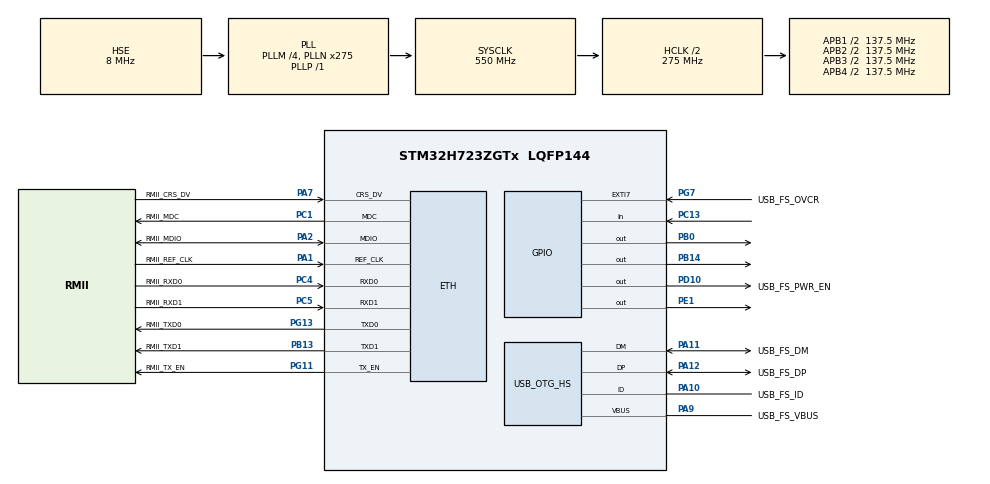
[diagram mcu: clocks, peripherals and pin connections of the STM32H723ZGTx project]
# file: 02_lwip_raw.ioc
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CORTEX_M7.AccessPermission_S-Cortex_Memory_Protection_Unit_Region1_Settings_S=MPU_REGION_FULL_ACCESS
CORTEX_M7.AccessPermission_S-Cortex_Memory_Protection_Unit_Region2_Settings_S=MPU_REGION_FULL_ACCESS
CORTEX_M7.BaseAddress_S-Cortex_Memory_Protection_Unit_Region1_Settings_S=0x30000000
CORTEX_M7.BaseAddress_S-Cortex_Memory_Protection_Unit_Region2_Settings_S=0x30000000
CORTEX_M7.CPU_DCache=Enabled
CORTEX_M7.CPU_ICache=Enabled
CORTEX_M7.DisableExec_S-Cortex_Memory_Protection_Unit_Region1_Settings_S=MPU_INSTRUCTION_ACCESS_DISABLE
CORTEX_M7.DisableExec_S-Cortex_Memory_Protection_Unit_Region2_Settings_S=MPU_INSTRUCTION_ACCESS_DISABLE
CORTEX_M7.Enable_S-Cortex_Memory_Protection_Unit_Region1_Settings_S=MPU_REGION_ENABLE
CORTEX_M7.Enable_S-Cortex_Memory_Protection_Unit_Region2_Settings_S=MPU_REGION_ENABLE
CORTEX_M7.IsBufferable_S-Cortex_Memory_Protection_Unit_Region1_Settings_S=MPU_ACCESS_NOT_BUFFERABLE
CORTEX_M7.IsBufferable_S-Cortex_Memory_Protection_Unit_Region2_Settings_S=MPU_ACCESS_BUFFERABLE
CORTEX_M7.IsCacheable_S-Cortex_Memory_Protection_Unit_Region1_Settings_S=MPU_ACCESS_NOT_CACHEABLE
CORTEX_M7.IsCacheable_S-Cortex_Memory_Protection_Unit_Region2_Settings_S=MPU_ACCESS_NOT_CACHEABLE
CORTEX_M7.IsShareable_S-Cortex_Memory_Protection_Unit_Region1_Settings_S=MPU_ACCESS_NOT_SHAREABLE
CORTEX_M7.IsShareable_S-Cortex_Memory_Protection_Unit_Region2_Settings_S=MPU_ACCESS_SHAREABLE
CORTEX_M7.Size_S-Cortex_Memory_Protection_Unit_Region1_Settings_S=MPU_REGION_SIZE_32KB
CORTEX_M7.Size_S-Cortex_Memory_Protection_Unit_Region2_Settings_S=MPU_REGION_SIZE_1KB
CORTEX_M7.TypeExtField_S-Cortex_Memory_Protection_Unit_Region1_Settings_S=MPU_TEX_LEVEL1
CORTEX_M7.TypeExtField_S-Cortex_Memory_Protection_Unit_Region2_Settings_S=MPU_TEX_LEVEL0
CORTEX_M7.default_mode_Activation=1
DTS.SamplingTime=DTS_SMP_TIME_15_CYCLE
ETH.MACAddr=02\:00\:00\:11\:22\:33
ETH.MediaInterface=HAL_ETH_RMII_MODE
ETH.RxBufferAddress=0x30000400
ETH.RxBuffLen=1536
ETH.RxDescAddress=0x30000000
ETH.TxDescAddress=0x30000200
LWIP.BSP.number=1
LWIP.CHECKSUM_BY_HARDWARE=1
LWIP.GATEWAY_ADDRESS=192.168.077.001
LWIP.IP_ADDRESS=192.168.077.020
LWIP.LWIP_DHCP=0
LWIP.LWIP_NETIF_LINK_CALLBACK=1
LWIP.LWIP_RAM_HEAP_POINTER=0x30005400
LWIP.MEM_SIZE=10240
LWIP.NETMASK_ADDRESS=255.255.255.000
LWIP.TCP_MSS=1460
LWIP.TCP_SND_BUF=5840
LWIP.TCP_SND_QUEUELEN=16
LWIP.TCP_WND=5840
LWIP.Version=v2.2.1_Cube
LWIP0.BSP.STBoard=false
LWIP0.BSP.api=BSP_COMPONENT_DRIVER
LWIP0.BSP.component=LAN8742
LWIP0.BSP.instance=LAN8742
LWIP0.BSP.name=Driver_PHY
LWIP0.BSP.semaphore=S_LAN8742
LWIP0.BSP.solution=LAN8742
Mcu.Family=STM32H7
Mcu.Name=STM32H723ZGTx
Mcu.Package=LQFP144
NUCLEO-H723ZG.BUTTON=1
NUCLEO-H723ZG.LD1=true
NUCLEO-H723ZG.LD2=true
NUCLEO-H723ZG.LD3=true
NUCLEO-H723ZG.VCP=true
NVIC.ETH_IRQn=true\:5\:0\:false\:false\:true\:true\:true\:true
NVIC.EXTI15_10_IRQn=true\:0\:0\:false\:false\:true\:false\:true\:true
NVIC.PriorityGroup=NVIC_PRIORITYGROUP_4
PA1.GPIO_Label=RMII_REF_CLK
PA1.GPIO_Speed=GPIO_SPEED_FREQ_VERY_HIGH
PA1.Mode=RMII
PA1.Signal=ETH_REF_CLK
PA10.GPIO_Label=USB_FS_ID
PA10.Mode=OTG/Dual_Role_Device_FS
PA10.Signal=USB_OTG_HS_ID
PA11.GPIO_Label=USB_FS_DM
PA11.Mode=OTG/Dual_Role_Device_FS
PA11.Signal=USB_OTG_HS_DM
PA12.GPIO_Label=USB_FS_DP
PA12.Mode=OTG/Dual_Role_Device_FS
PA12.Signal=USB_OTG_HS_DP
PA13(JTMS/SWDIO).GPIO_Label=SWDIO
PA13(JTMS/SWDIO).Mode=Trace_Asynchronous_SW
PA13(JTMS/SWDIO).Signal=DEBUG_JTMS-SWDIO
PA14(JTCK/SWCLK).GPIO_Label=SWCLK
PA14(JTCK/SWCLK).Mode=Trace_Asynchronous_SW
PA14(JTCK/SWCLK).Signal=DEBUG_JTCK-SWCLK
PA2.GPIO_Label=RMII_MDIO
PA2.GPIO_Speed=GPIO_SPEED_FREQ_VERY_HIGH
PA2.Mode=RMII
PA2.Signal=ETH_MDIO
PA7.GPIO_Label=RMII_CRS_DV
PA7.GPIO_Speed=GPIO_SPEED_FREQ_VERY_HIGH
PA7.Mode=RMII
PA7.Signal=ETH_CRS_DV
PA9.GPIO_Label=USB_FS_VBUS
PA9.Mode=Activate_VBUS_FS
PA9.Signal=USB_OTG_HS_VBUS
PB0.Signal=GPIO_Output
PB13.GPIO_Label=RMII_TXD1
PB13.GPIO_Speed=GPIO_SPEED_FREQ_VERY_HIGH
PB13.Mode=RMII
PB13.Signal=ETH_TXD1
PB14.Signal=GPIO_Output
PB3(JTDO/TRACESWO).GPIO_Label=SWO
PB3(JTDO/TRACESWO).Mode=Trace_Asynchronous_SW
PB3(JTDO/TRACESWO).Signal=DEBUG_JTDO-SWO
PC1.GPIO_Label=RMII_MDC
PC1.GPIO_Speed=GPIO_SPEED_FREQ_VERY_HIGH
PC1.Mode=RMII
PC1.Signal=ETH_MDC
PC13.Signal=GPIO_Input
PC14-OSC32_IN.Mode=LSE-External-Oscillator
PC14-OSC32_IN.Signal=RCC_OSC32_IN
PC15-OSC32_OUT.Mode=LSE-External-Oscillator
PC15-OSC32_OUT.Signal=RCC_OSC32_OUT
PC4.GPIO_Label=RMII_RXD0
PC4.GPIO_Speed=GPIO_SPEED_FREQ_VERY_HIGH
PC4.Mode=RMII
PC4.Signal=ETH_RXD0
PC5.GPIO_Label=RMII_RXD1
PC5.GPIO_Speed=GPIO_SPEED_FREQ_VERY_HIGH
PC5.Mode=RMII
PC5.Signal=ETH_RXD1
PD10.GPIO_Label=USB_FS_PWR_EN
PD10.Signal=GPIO_Output
PD8.Signal=USART3_TX
PD9.Signal=USART3_RX
PE1.Signal=GPIO_Output
PG11.GPIO_Label=RMII_TX_EN
PG11.GPIO_Speed=GPIO_SPEED_FREQ_VERY_HIGH
PG11.Mode=RMII
PG11.Signal=ETH_TX_EN
PG13.GPIO_Label=RMII_TXD0
PG13.GPIO_Speed=GPIO_SPEED_FREQ_VERY_HIGH
PG13.Mode=RMII
PG13.Signal=ETH_TXD0
PG7.GPIO_Label=USB_FS_OVCR
PG7.Signal=GPXTI7
PH0-OSC_IN.GPIO_Label=MCO
PH0-OSC_IN.Mode=HSE-External-Clock-Source
PH0-OSC_IN.Signal=RCC_OSC_IN
PH1-OSC_OUT.Signal=RCC_OSC_OUT
ProjectManager.HeapSize=0x1000
ProjectManager.StackSize=0x1000
ProjectManager.TargetToolchain=STM32CubeIDE
RCC.ADCFreq_Value=76000000
RCC.APB1Freq_Value=137500000
RCC.APB2Freq_Value=137500000
RCC.APB3Freq_Value=137500000
RCC.APB4Freq_Value=137500000
RCC.CortexFreq_Value=550000000
RCC.D1PPRE=RCC_APB3_DIV2
RCC.D2PPRE1=RCC_APB1_DIV2
RCC.D2PPRE2=RCC_APB2_DIV2
RCC.D3PPRE=RCC_APB4_DIV2
RCC.DIVM1=4
RCC.DIVM2=1
RCC.DIVN1=275
RCC.DIVN2=19
RCC.DIVP1=1
RCC.DIVQ1=4
RCC.HCLKFreq_Value=275000000
RCC.HPRE=RCC_HCLK_DIV2
RCC.HSE_VALUE=8000000
RCC.PLLFRACN=0
RCC.PLLSourceVirtual=RCC_PLLSOURCE_HSE
RCC.SYSCLKFreq_VALUE=550000000
RCC.SYSCLKSource=RCC_SYSCLKSOURCE_PLLCLK
RCC.USBCLockSelection=RCC_USBCLKSOURCE_HSI48
RCC.USBFreq_Value=48000000
USB_OTG_HS.VirtualMode-OTG/Dual_Role_Device_FS=Device_Role_Device_FS
VP_DTS_VS-DTS.Mode=DTS
VP_LWIP_VS_Enabled.Mode=Enabled
VP_NUCLEO-H723ZG_VS_BSP_COMMON.Mode=COMMON
board=NUCLEO-H723ZG

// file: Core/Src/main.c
/* USER CODE BEGIN Header */
/**
  ******************************************************************************
  * @file           : main.c
  * @brief          : Main program body
  ******************************************************************************
  * @attention
  *
  * Copyright (c) 2026 STMicroelectronics.
  * All rights reserved.
  *
  * This software is licensed under terms that can be found in the LICENSE file
  * in the root directory of this software component.
  * If no LICENSE file comes with this software, it is provided AS-IS.
  *
  ******************************************************************************
  */
/* USER CODE END Header */
#include "main.h"
#include "lwip.h"

/* USER CODE BEGIN Includes */
#include <stdio.h>
#include <string.h>
#include "app_net.h"
#include "lwip/netif.h"
#include "lwip/ip4_addr.h"
#include "lwip/dhcp.h"
#include "ethernetif.h"
/* USER CODE END Includes */

COM_InitTypeDef BspCOMInit;

DTS_HandleTypeDef hdts;

PCD_HandleTypeDef hpcd_USB_OTG_HS;

/* USER CODE BEGIN PV */
static volatile uint8_t led_manual;     /* TCP 'LED ON/OFF'를 받으면 1 → LD1 점멸 중지 */
extern ETH_HandleTypeDef heth;          /* ethernetif.c */
extern struct netif gnetif;             /* lwip.c */
/* USER CODE END PV */

void SystemClock_Config(void);
static void MPU_Config(void);
static void MX_GPIO_Init(void);
static void MX_USB_OTG_HS_PCD_Init(void);
static void MX_DTS_Init(void);

/* USER CODE BEGIN 0 */
/* DTS(온칩 디지털 온도 센서) — MX_DTS_Init 뒤 HAL_DTS_Start로 연속 측정 중. 1 °C 단위 → m°C */
int32_t read_temp_mC(void)
{
  int32_t t = 0;
  if (HAL_DTS_GetTemperature(&hdts, &t) != HAL_OK) { return INT32_MIN; }
  return t * 1000;
}

void app_led(uint8_t on)
{
  led_manual = 1U;
  if (on) { BSP_LED_On(LED_GREEN); } else { BSP_LED_Off(LED_GREEN); }
}

/* 링크 문자열: PHY가 협상한 값을 MAC(ETH_MACCR FES/DM)에 반영한 결과를 그대로 읽는다 */
int app_link_str(char *out, size_t len)
{
  ETH_MACConfigTypeDef mc;
  if (!netif_is_link_up(&gnetif)) { return snprintf(out, len, "DOWN"); }
  HAL_ETH_GetMACConfig(&heth, &mc);
  return snprintf(out, len, "%s%s", (mc.Speed == ETH_SPEED_100M) ? "100" : "10",
                  (mc.DuplexMode == ETH_FULLDUPLEX_MODE) ? "F" : "H");
}
/* USER CODE END 0 */

int main(void)
{

  /* MPU Configuration--------------------------------------------------------*/
  MPU_Config();

  /* Enable the CPU Cache */

  /* Enable I-Cache---------------------------------------------------------*/
  SCB_EnableICache();

  /* Enable D-Cache---------------------------------------------------------*/
  SCB_EnableDCache();

  /* MCU Configuration--------------------------------------------------------*/

  /* Reset of all peripherals, Initializes the Flash interface and the Systick. */
  HAL_Init();

  /* Configure the system clock */
  SystemClock_Config();

  /* Initialize all configured peripherals */
  MX_GPIO_Init();
  MX_USB_OTG_HS_PCD_Init();
  MX_DTS_Init();
  MX_LWIP_Init();

  /* Initialize leds */
  BSP_LED_Init(LED_GREEN);
  BSP_LED_Init(LED_YELLOW);
  BSP_LED_Init(LED_RED);

  /* Initialize USER push-button, will be used to trigger an interrupt each time it's pressed.*/
  BSP_PB_Init(BUTTON_USER, BUTTON_MODE_EXTI);

  /* Initialize COM1 port (115200, 8 bits (7-bit data + 1 stop bit), no parity */
  BspCOMInit.BaudRate   = 115200;
  BspCOMInit.WordLength = COM_WORDLENGTH_8B;
  BspCOMInit.StopBits   = COM_STOPBITS_1;
  BspCOMInit.Parity     = COM_PARITY_NONE;
  BspCOMInit.HwFlowCtl  = COM_HWCONTROL_NONE;
  if (BSP_COM_Init(COM1, &BspCOMInit) != BSP_ERROR_NONE)
  {
    Error_Handler();
  }

  /* Infinite loop */
  /* USER CODE BEGIN WHILE */
  printf("\r\n=== Hands-on 2: lwIP RAW API (NO_SYS) ===\r\n");
  printf("IP %s  MAC 02:00:00:11:22:33  heap @0x%08lX (MEM_SIZE %u)\r\n",
         ip4addr_ntoa(netif_ip4_addr(&gnetif)), (unsigned long)LWIP_RAM_HEAP_POINTER, (unsigned)MEM_SIZE);
  telemetry_init();                  /* Step 3: UDP 5005 → 192.168.77.10:5005, 5 Hz */
  cmd_server_init();                 /* Step 4: TCP 23 */

  uint32_t t_tel = HAL_GetTick(), t_led = HAL_GetTick();
#if LWIP_DHCP
  uint8_t dhcp_shown = 0;
#endif
  while (1)
  {
    MX_LWIP_Process();               /* 수신 → lwIP, sys_check_timeouts, 100 ms마다 링크 확인 */

    if ((HAL_GetTick() - t_tel) >= TELEMETRY_MS) { t_tel = HAL_GetTick(); telemetry_send(); }

    if ((HAL_GetTick() - t_led) >= 500U)
    {
      t_led = HAL_GetTick();
      if (!led_manual) { BSP_LED_Toggle(LED_GREEN); }                /* LD1 점멸 = 펌웨어 동작 */
      if (netif_is_link_up(&gnetif)) { BSP_LED_On(LED_YELLOW); } else { BSP_LED_Off(LED_YELLOW); } /* LD2 = 링크 */
    }

#if LWIP_DHCP                        /* Step 2 (강사 시연): CubeMX에서 LWIP_DHCP Enabled → MX_LWIP_Init이 dhcp_start */
    if (!dhcp_shown && dhcp_supplied_address(&gnetif))
    {
      printf("DHCP: IP %s", ip4addr_ntoa(netif_ip4_addr(&gnetif)));
      printf("  GW %s\r\n", ip4addr_ntoa(netif_ip4_gw(&gnetif)));
      dhcp_shown = 1;
    }
#endif
    /* USER CODE END WHILE */

  }
}

void SystemClock_Config(void)
{
  RCC_OscInitTypeDef RCC_OscInitStruct = {0};
  RCC_ClkInitTypeDef RCC_ClkInitStruct = {0};

  /** Supply configuration update enable
  */
  HAL_PWREx_ConfigSupply(PWR_LDO_SUPPLY);

  /** Configure the main internal regulator output voltage
  */
  __HAL_PWR_VOLTAGESCALING_CONFIG(PWR_REGULATOR_VOLTAGE_SCALE0);

  while(!__HAL_PWR_GET_FLAG(PWR_FLAG_VOSRDY)) {}

  /** Initializes the RCC Oscillators according to the specified parameters
  * in the RCC_OscInitTypeDef structure.
  */
  RCC_OscInitStruct.OscillatorType = RCC_OSCILLATORTYPE_HSI48|RCC_OSCILLATORTYPE_HSE;
  RCC_OscInitStruct.HSEState = RCC_HSE_BYPASS;
  RCC_OscInitStruct.HSI48State = RCC_HSI48_ON;
  RCC_OscInitStruct.PLL.PLLState = RCC_PLL_ON;
  RCC_OscInitStruct.PLL.PLLSource = RCC_PLLSOURCE_HSE;
  RCC_OscInitStruct.PLL.PLLM = 4;
  RCC_OscInitStruct.PLL.PLLN = 275;
  RCC_OscInitStruct.PLL.PLLP = 1;
  RCC_OscInitStruct.PLL.PLLQ = 4;
  RCC_OscInitStruct.PLL.PLLR = 2;
  RCC_OscInitStruct.PLL.PLLRGE = RCC_PLL1VCIRANGE_1;
  RCC_OscInitStruct.PLL.PLLVCOSEL = RCC_PLL1VCOWIDE;
  RCC_OscInitStruct.PLL.PLLFRACN = 0;
  if (HAL_RCC_OscConfig(&RCC_OscInitStruct) != HAL_OK)
  {
    Error_Handler();
  }

  /** Initializes the CPU, AHB and APB buses clocks
  */
  RCC_ClkInitStruct.ClockType = RCC_CLOCKTYPE_HCLK|RCC_CLOCKTYPE_SYSCLK
                              |RCC_CLOCKTYPE_PCLK1|RCC_CLOCKTYPE_PCLK2
                              |RCC_CLOCKTYPE_D3PCLK1|RCC_CLOCKTYPE_D1PCLK1;
  RCC_ClkInitStruct.SYSCLKSource = RCC_SYSCLKSOURCE_PLLCLK;
  RCC_ClkInitStruct.SYSCLKDivider = RCC_SYSCLK_DIV1;
  RCC_ClkInitStruct.AHBCLKDivider = RCC_HCLK_DIV2;
  RCC_ClkInitStruct.APB3CLKDivider = RCC_APB3_DIV2;
  RCC_ClkInitStruct.APB1CLKDivider = RCC_APB1_DIV2;
  RCC_ClkInitStruct.APB2CLKDivider = RCC_APB2_DIV2;
  RCC_ClkInitStruct.APB4CLKDivider = RCC_APB4_DIV2;

  if (HAL_RCC_ClockConfig(&RCC_ClkInitStruct, FLASH_LATENCY_3) != HAL_OK)
  {
    Error_Handler();
  }
}

static void MX_DTS_Init(void)
{

  hdts.Instance = DTS;
  hdts.Init.QuickMeasure = DTS_QUICKMEAS_DISABLE;
  hdts.Init.RefClock = DTS_REFCLKSEL_PCLK;
  hdts.Init.TriggerInput = DTS_TRIGGER_HW_NONE;
  hdts.Init.SamplingTime = DTS_SMP_TIME_15_CYCLE;
  hdts.Init.Divider = 1;
  hdts.Init.HighThreshold = 0x0;
  hdts.Init.LowThreshold = 0x0;
  if (HAL_DTS_Init(&hdts) != HAL_OK)
  {
    Error_Handler();
  }
  /* USER CODE BEGIN DTS_Init 2 */
  if (HAL_DTS_Start(&hdts) != HAL_OK)     /* 트리거 없음 → 연속 측정 시작 */
  {
    Error_Handler();
  }
  /* USER CODE END DTS_Init 2 */

}

static void MX_USB_OTG_HS_PCD_Init(void)
{

  hpcd_USB_OTG_HS.Instance = USB_OTG_HS;
  hpcd_USB_OTG_HS.Init.dev_endpoints = 9;
  hpcd_USB_OTG_HS.Init.speed = PCD_SPEED_FULL;
  hpcd_USB_OTG_HS.Init.dma_enable = DISABLE;
  hpcd_USB_OTG_HS.Init.phy_itface = USB_OTG_EMBEDDED_PHY;
  hpcd_USB_OTG_HS.Init.Sof_enable = DISABLE;
  hpcd_USB_OTG_HS.Init.low_power_enable = DISABLE;
  hpcd_USB_OTG_HS.Init.lpm_enable = DISABLE;
  hpcd_USB_OTG_HS.Init.vbus_sensing_enable = ENABLE;
  hpcd_USB_OTG_HS.Init.use_dedicated_ep1 = DISABLE;
  hpcd_USB_OTG_HS.Init.use_external_vbus = DISABLE;
  if (HAL_PCD_Init(&hpcd_USB_OTG_HS) != HAL_OK)
  {
    Error_Handler();
  }

}

static void MX_GPIO_Init(void)
{
  GPIO_InitTypeDef GPIO_InitStruct = {0};

  /* GPIO Ports Clock Enable */
  __HAL_RCC_GPIOC_CLK_ENABLE();
  __HAL_RCC_GPIOH_CLK_ENABLE();
  __HAL_RCC_GPIOA_CLK_ENABLE();
  __HAL_RCC_GPIOB_CLK_ENABLE();
  __HAL_RCC_GPIOD_CLK_ENABLE();
  __HAL_RCC_GPIOG_CLK_ENABLE();

  /*Configure GPIO pin Output Level */
  HAL_GPIO_WritePin(USB_FS_PWR_EN_GPIO_Port, USB_FS_PWR_EN_Pin, GPIO_PIN_RESET);

  /*Configure GPIO pin : USB_FS_PWR_EN_Pin */
  GPIO_InitStruct.Pin = USB_FS_PWR_EN_Pin;
  GPIO_InitStruct.Mode = GPIO_MODE_OUTPUT_PP;
  GPIO_InitStruct.Pull = GPIO_NOPULL;
  GPIO_InitStruct.Speed = GPIO_SPEED_FREQ_LOW;
  HAL_GPIO_Init(USB_FS_PWR_EN_GPIO_Port, &GPIO_InitStruct);

  /*Configure GPIO pin : USB_FS_OVCR_Pin */
  GPIO_InitStruct.Pin = USB_FS_OVCR_Pin;
  GPIO_InitStruct.Mode = GPIO_MODE_IT_RISING;
  GPIO_InitStruct.Pull = GPIO_NOPULL;
  HAL_GPIO_Init(USB_FS_OVCR_GPIO_Port, &GPIO_InitStruct);

}

 /* MPU Configuration */

void MPU_Config(void)
{
  MPU_Region_InitTypeDef MPU_InitStruct = {0};

  /* Disables the MPU */
  HAL_MPU_Disable();

  /** Initializes and configures the Region and the memory to be protected
  */
  MPU_InitStruct.Enable = MPU_REGION_ENABLE;
  MPU_InitStruct.Number = MPU_REGION_NUMBER0;
  MPU_InitStruct.BaseAddress = 0x0;
  MPU_InitStruct.Size = MPU_REGION_SIZE_4GB;
  MPU_InitStruct.SubRegionDisable = 0x87;
  MPU_InitStruct.TypeExtField = MPU_TEX_LEVEL0;
  MPU_InitStruct.AccessPermission = MPU_REGION_NO_ACCESS;
  MPU_InitStruct.DisableExec = MPU_INSTRUCTION_ACCESS_DISABLE;
  MPU_InitStruct.IsShareable = MPU_ACCESS_SHAREABLE;
  MPU_InitStruct.IsCacheable = MPU_ACCESS_NOT_CACHEABLE;
  MPU_InitStruct.IsBufferable = MPU_ACCESS_NOT_BUFFERABLE;

  HAL_MPU_ConfigRegion(&MPU_InitStruct);

  /** Initializes and configures the Region and the memory to be protected
  */
  MPU_InitStruct.Number = MPU_REGION_NUMBER1;
  MPU_InitStruct.BaseAddress = 0x30000000;
  MPU_InitStruct.Size = MPU_REGION_SIZE_32KB;
  MPU_InitStruct.SubRegionDisable = 0x0;
  MPU_InitStruct.TypeExtField = MPU_TEX_LEVEL1;
  MPU_InitStruct.AccessPermission = MPU_REGION_FULL_ACCESS;
  MPU_InitStruct.IsShareable = MPU_ACCESS_NOT_SHAREABLE;

  HAL_MPU_ConfigRegion(&MPU_InitStruct);

  /** Initializes and configures the Region and the memory to be protected
  */
  MPU_InitStruct.Number = MPU_REGION_NUMBER2;
  MPU_InitStruct.Size = MPU_REGION_SIZE_1KB;
  MPU_InitStruct.TypeExtField = MPU_TEX_LEVEL0;
  MPU_InitStruct.IsShareable = MPU_ACCESS_SHAREABLE;
  MPU_InitStruct.IsBufferable = MPU_ACCESS_BUFFERABLE;

  HAL_MPU_ConfigRegion(&MPU_InitStruct);
  /* Enables the MPU */
  HAL_MPU_Enable(MPU_PRIVILEGED_DEFAULT);

}

void Error_Handler(void)
{
  __disable_irq();
  while (1)
  {
  }
}
